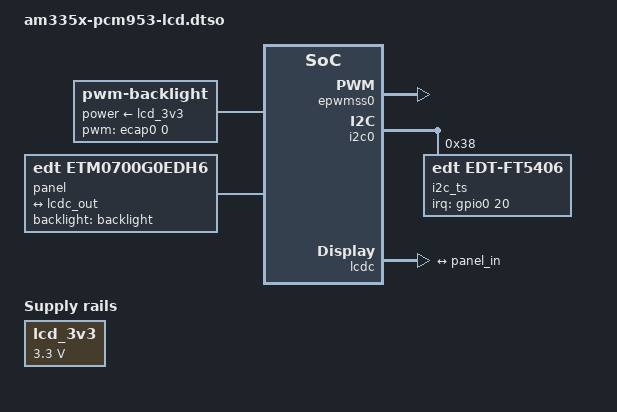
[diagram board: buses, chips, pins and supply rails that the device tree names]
// SPDX-License-Identifier: (GPL-2.0+ OR MIT)
/*
 * Copyright (C) 2022 PHYTEC Messtechnik GmbH
 * Author: Dominik Haller <d.haller@phytec.de>
 */
/dts-v1/;
/plugin/;

#include <dt-bindings/pinctrl/am33xx.h>
#include <dt-bindings/interrupt-controller/irq.h>

&am33xx_pinmux {

	ecap0_pins: pinmux-ecap0 {
		pinctrl-single,pins = <
			AM33XX_PADCONF(AM335X_PIN_ECAP0_IN_PWM0_OUT, PIN_OUTPUT_PULLDOWN, MUX_MODE0)
		>;
	};

	lcd_pins: pinmux-lcd {
		pinctrl-single,pins = <
			AM33XX_PADCONF(AM335X_PIN_LCD_DATA0, PIN_OUTPUT, MUX_MODE0)
			AM33XX_PADCONF(AM335X_PIN_LCD_DATA1, PIN_OUTPUT, MUX_MODE0)
			AM33XX_PADCONF(AM335X_PIN_LCD_DATA2, PIN_OUTPUT, MUX_MODE0)
			AM33XX_PADCONF(AM335X_PIN_LCD_DATA3, PIN_OUTPUT, MUX_MODE0)
			AM33XX_PADCONF(AM335X_PIN_LCD_DATA4, PIN_OUTPUT, MUX_MODE0)
			AM33XX_PADCONF(AM335X_PIN_LCD_DATA5, PIN_OUTPUT, MUX_MODE0)
			AM33XX_PADCONF(AM335X_PIN_LCD_DATA6, PIN_OUTPUT, MUX_MODE0)
			AM33XX_PADCONF(AM335X_PIN_LCD_DATA7, PIN_OUTPUT, MUX_MODE0)
			AM33XX_PADCONF(AM335X_PIN_LCD_DATA8, PIN_OUTPUT, MUX_MODE0)
			AM33XX_PADCONF(AM335X_PIN_LCD_DATA9, PIN_OUTPUT, MUX_MODE0)
			AM33XX_PADCONF(AM335X_PIN_LCD_DATA10, PIN_OUTPUT, MUX_MODE0)
			AM33XX_PADCONF(AM335X_PIN_LCD_DATA11, PIN_OUTPUT, MUX_MODE0)
			AM33XX_PADCONF(AM335X_PIN_LCD_DATA12, PIN_OUTPUT, MUX_MODE0)
			AM33XX_PADCONF(AM335X_PIN_LCD_DATA13, PIN_OUTPUT, MUX_MODE0)
			AM33XX_PADCONF(AM335X_PIN_LCD_DATA14, PIN_OUTPUT, MUX_MODE0)
			AM33XX_PADCONF(AM335X_PIN_LCD_DATA15, PIN_OUTPUT, MUX_MODE0)
			AM33XX_PADCONF(AM335X_PIN_GPMC_AD15, PIN_OUTPUT, MUX_MODE1)	/* gpmc_ad15.lcd_data16 */
			AM33XX_PADCONF(AM335X_PIN_GPMC_AD14, PIN_OUTPUT, MUX_MODE1)	/* gpmc_ad14.lcd_data17 */
			AM33XX_PADCONF(AM335X_PIN_GPMC_AD13, PIN_OUTPUT, MUX_MODE1)	/* gpmc_ad13.lcd_data18 */
			AM33XX_PADCONF(AM335X_PIN_GPMC_AD12, PIN_OUTPUT, MUX_MODE1)	/* gpmc_ad12.lcd_data19 */
			AM33XX_PADCONF(AM335X_PIN_GPMC_AD11, PIN_OUTPUT, MUX_MODE1)	/* gpmc_ad11.lcd_data20 */
			AM33XX_PADCONF(AM335X_PIN_GPMC_AD10, PIN_OUTPUT, MUX_MODE1)	/* gpmc_ad10.lcd_data21 */
			AM33XX_PADCONF(AM335X_PIN_GPMC_AD9, PIN_OUTPUT, MUX_MODE1)	/* gpmc_ad9.lcd_data22 */
			AM33XX_PADCONF(AM335X_PIN_GPMC_AD8, PIN_OUTPUT, MUX_MODE1)	/* gpmc_ad8.lcd_data23 */
			AM33XX_PADCONF(AM335X_PIN_LCD_VSYNC, PIN_OUTPUT, MUX_MODE0)
			AM33XX_PADCONF(AM335X_PIN_LCD_HSYNC, PIN_OUTPUT, MUX_MODE0)
			AM33XX_PADCONF(AM335X_PIN_LCD_PCLK, PIN_OUTPUT, MUX_MODE0)
			AM33XX_PADCONF(AM335X_PIN_LCD_AC_BIAS_EN, PIN_OUTPUT, MUX_MODE0)
		>;
	};

	ts_irq_pin: pinmux-ts-irq-pin {
		pinctrl-single,pins = <
			AM33XX_PADCONF(AM335X_PIN_XDMA_EVENT_INTR1, PIN_INPUT_PULLUP, MUX_MODE7)       /* xdma_event_intr1.gpio0_20 */
		>;
	};
};

&epwmss0 {
	status = "okay";

	ecap0: pwm@100 {
		#pwm-cells = <3>;
		pinctrl-names = "default";
		pinctrl-0 = <&ecap0_pins>;
		status = "okay";
	};
};

&i2c0 {
	#address-cells = <1>;
	#size-cells = <0>;

	i2c_ts: touchscreen@38 {
		compatible = "edt,edt-ft5406";
		reg = <0x38>;
		pinctrl-names = "default";
		pinctrl-0 = <&ts_irq_pin>;
		interrupt-parent = <&gpio0>;
		interrupts = <20 IRQ_TYPE_NONE>;
	};
};

&lcdc {
	blue-and-red-wiring = "crossed";
	invert-pxl-clk;
	status = "okay";

	port {
		lcdc_out: endpoint@0 {
			remote-endpoint = <&panel_in>;
		};
	};

};

&{/}{
	backlight: backlight {
		compatible = "pwm-backlight";
		brightness-levels = <0 4 8 16 32 64 128 255>;
		default-brightness-level = <6>;
		power-supply = <&lcd_3v3>;
		pwms = <&ecap0 0 100000 0>;
	};

	lcd_3v3: fixedregulator-lcd {
		compatible = "regulator-fixed";
		regulator-name = "lcd_3v3";
		regulator-min-microvolt = <3300000>;
		regulator-max-microvolt = <3300000>;
		regulator-boot-on;
	};

	panel: panel {
		compatible = "edt,etm0700g0edh6";
		pinctrl-names = "default";
		pinctrl-0 = <&lcd_pins>;
		backlight = <&backlight>;

		port {
			panel_in: endpoint@0 {
			remote-endpoint = <&lcdc_out>;
			};
		};
	};
};
